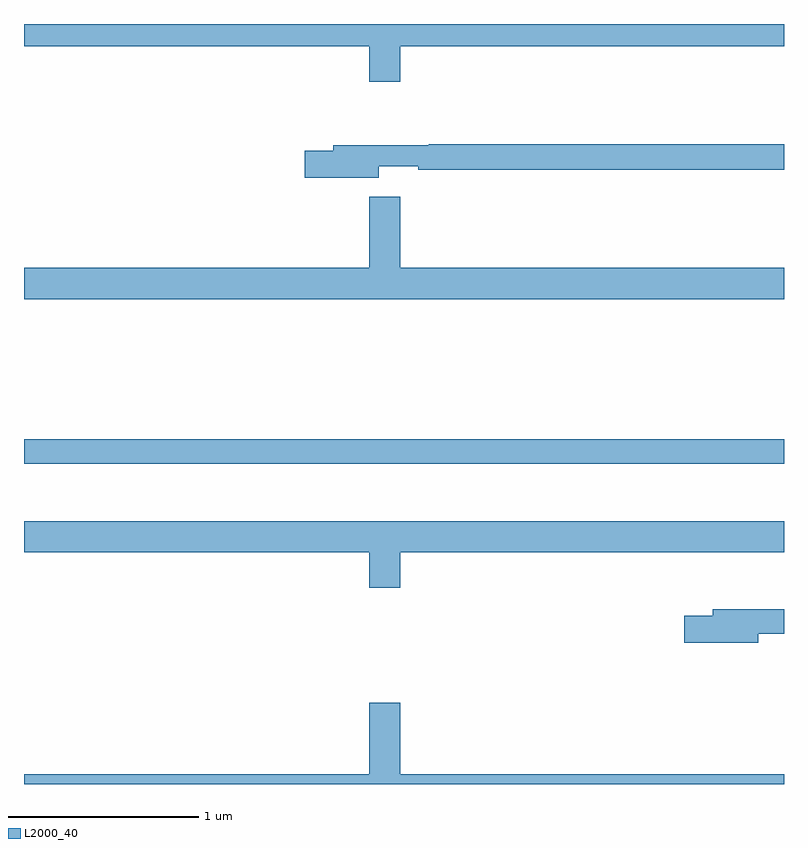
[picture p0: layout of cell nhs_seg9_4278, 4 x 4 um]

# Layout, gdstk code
import gdstk
lib = gdstk.Library(unit=1e-6, precision=1e-09)
def R(c, l, rs):  # rectangles x0, y0, x1, y1
    for r in rs: c.add(gdstk.rectangle(r[:2], r[2:], *l))
def P(c, l, *ps):  # polygons
    for p in ps: c.add(gdstk.Polygon(p, *l))
L2000_40 = (2000, 40)

nhs_seg9_4278 = lib.new_cell('nhs_seg9_4278')
R(nhs_seg9_4278, L2000_40, [(355,1230.186,359,1230.314)])
P(nhs_seg9_4278, L2000_40, [(356.98,1232.384),(359,1232.384),(359,1232.5),(355,1232.5),(355,1232.384),(356.816,1232.384),(356.816,1232.196),(356.98,1232.196)],
  [(356.866,1231.751),(357.076,1231.751),(357.076,1231.732),(359,1231.732),(359,1231.868),(357.131,1231.868),(357.131,1231.861),(356.627,1231.861),(356.627,1231.832),(356.478,1231.832),(356.478,1231.69),(356.866,1231.69)],
  [(359,1231.216),(356.98,1231.216),(356.98,1231.591),(356.816,1231.591),(356.816,1231.216),(355,1231.216),(355,1231.052),(359,1231.052)],
  [(356.98,1229.72),(359,1229.72),(359,1229.884),(355,1229.884),(355,1229.72),(356.816,1229.72),(356.816,1229.532),(356.98,1229.532)],
  [(358.864,1229.29),(359,1229.29),(359,1229.419),(358.625,1229.419),(358.625,1229.385),(358.476,1229.385),(358.476,1229.243),(358.864,1229.243)],
  [(359,1228.552),(356.98,1228.552),(356.98,1228.927),(356.816,1228.927),(356.816,1228.552),(355,1228.552),(355,1228.5),(359,1228.5)])

lib.write_gds('nhs_seg9_4278.gds')
